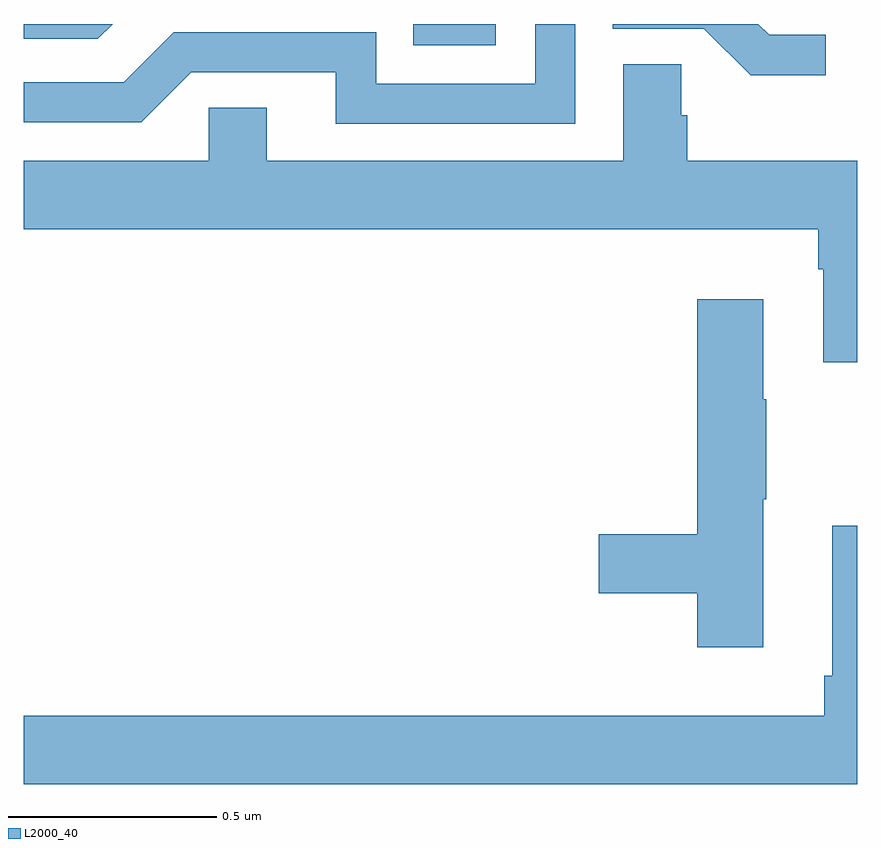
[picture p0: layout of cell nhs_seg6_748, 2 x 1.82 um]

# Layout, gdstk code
import gdstk
lib = gdstk.Library(unit=1e-6, precision=1e-09)
def R(c, l, rs):  # rectangles x0, y0, x1, y1
    for r in rs: c.add(gdstk.rectangle(r[:2], r[2:], *l))
def P(c, l, *ps):  # polygons
    for p in ps: c.add(gdstk.Polygon(p, *l))
L2000_40 = (2000, 40)

nhs_seg6_748 = lib.new_cell('nhs_seg6_748')
R(nhs_seg6_748, L2000_40, [(120.934,942.449,121.132,942.5)])
P(nhs_seg6_748, L2000_40, [(121.924,942.474),(121.789,942.474),(121.763,942.5),(121.413,942.5),(121.413,942.489),(121.632,942.489),(121.745,942.377),(121.924,942.377)],
  [(120.213,942.5),(120,942.5),(120,942.465),(120.178,942.465)],
  [(121.323,942.5),(121.227,942.5),(121.227,942.357),(120.846,942.357),(120.846,942.48),(120.36,942.48),(120.24,942.36),(120,942.36),(120,942.264),(120.282,942.264),(120.402,942.384),(120.749,942.384),(120.749,942.261),(121.323,942.261)],
  [(122,942.172),(121.592,942.172),(121.592,942.281),(121.578,942.281),(121.578,942.404),(121.439,942.404),(121.439,942.172),(120.583,942.172),(120.583,942.299),(120.444,942.299),(120.444,942.172),(120,942.172),(120,942.008),(121.907,942.008),(121.907,941.912),(121.919,941.912),(121.919,941.688),(122,941.688)],
  [(121.774,941.359),(121.782,941.359),(121.782,941.6),(121.774,941.6),(121.774,941.839),(121.616,941.839),(121.616,941.276),(121.38,941.276),(121.38,941.134),(121.616,941.134),(121.616,941.004),(121.774,941.004)],
  [(122,941.296),(121.94,941.296),(121.94,940.936),(121.921,940.936),(121.921,940.84),(120,940.84),(120,940.676),(122,940.676)])

lib.write_gds('nhs_seg6_748.gds')
